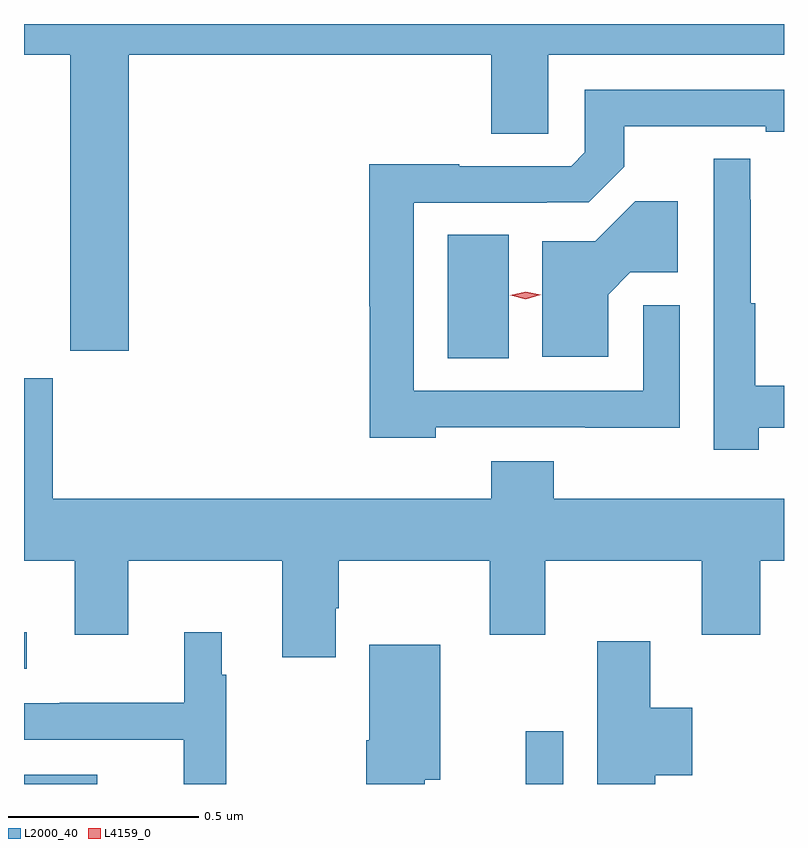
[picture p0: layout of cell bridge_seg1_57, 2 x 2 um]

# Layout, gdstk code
import gdstk
lib = gdstk.Library(unit=1e-6, precision=1e-09)
def R(c, l, rs):  # rectangles x0, y0, x1, y1
    for r in rs: c.add(gdstk.rectangle(r[:2], r[2:], *l))
def P(c, l, *ps):  # polygons
    for p in ps: c.add(gdstk.Polygon(p, *l))
L2000_40 = (2000, 40)
L4159_0 = (4159, 0)

bridge_seg1_57 = lib.new_cell('bridge_seg1_57')
R(bridge_seg1_57, L2000_40, [(472.788,528.501,472.981,528.526), (474.109,528.501,474.207,528.64), (472.788,528.804,472.795,528.9), (473.903,529.621,474.064,529.946)])
P(bridge_seg1_57, L2000_40, [(473.063,530.42),(474.017,530.42),(474.017,530.212),(474.168,530.212),(474.168,530.42),(474.788,530.42),(474.788,530.501),(472.788,530.501),(472.788,530.42),(472.91,530.42),(472.91,529.641),(473.063,529.641)],
  [(473.871,529.44),(474.265,529.44),(474.265,529.439),(474.513,529.439),(474.513,529.761),(474.417,529.761),(474.417,529.536),(473.814,529.536),(473.814,530.031),(474.164,530.031),(474.164,530.032),(474.274,530.032),(474.367,530.125),(474.367,530.232),(474.74,530.232),(474.74,530.217),(474.788,530.217),(474.788,530.328),(474.264,530.328),(474.264,530.163),(474.228,530.127),(473.933,530.127),(473.933,530.132),(473.697,530.132),(473.697,529.758),(473.698,529.758),(473.698,529.412),(473.871,529.412)],
  [(474.721,529.439),(474.788,529.439),(474.788,529.549),(474.712,529.549),(474.712,529.766),(474.7,529.766),(474.7,530.039),(474.699,530.039),(474.699,530.147),(474.603,530.147),(474.603,529.38),(474.721,529.38)],
  [(474.325,529.789),(474.384,529.848),(474.508,529.848),(474.508,530.035),(474.397,530.035),(474.291,529.929),(474.152,529.929),(474.152,529.625),(474.325,529.625)],
  [(473.608,528.964),(473.616,528.964),(473.616,529.088),(474.013,529.088),(474.013,528.894),(474.16,528.894),(474.16,529.088),(474.572,529.088),(474.572,528.894),(474.725,528.894),(474.725,529.088),(474.788,529.088),(474.788,529.252),(474.182,529.252),(474.182,529.351),(474.017,529.351),(474.017,529.252),(472.864,529.252),(472.864,529.569),(472.788,529.569),(472.788,529.088),(472.922,529.088),(472.922,528.894),(473.062,528.894),(473.062,529.088),(473.468,529.088),(473.468,528.834),(473.608,528.834)],
  [(473.32,528.788),(473.308,528.788),(473.308,528.901),(473.21,528.901),(473.21,528.715),(472.882,528.715),(472.882,528.714),(472.788,528.714),(472.788,528.618),(473.209,528.618),(473.209,528.501),(473.32,528.501)],
  [(474.449,528.524),(474.547,528.524),(474.547,528.702),(474.436,528.702),(474.436,528.877),(474.296,528.877),(474.296,528.501),(474.449,528.501)],
  [(473.842,528.512),(473.884,528.512),(473.884,528.868),(473.696,528.868),(473.696,528.616),(473.689,528.616),(473.689,528.501),(473.842,528.501)])
P(bridge_seg1_57, L4159_0, [(474.108,529.777),(474.068,529.787),(474.068,529.787),(474.068,529.787),(474.108,529.797),(474.148,529.788),(474.148,529.788),(474.148,529.788)])

lib.write_gds('bridge_seg1_57.gds')
